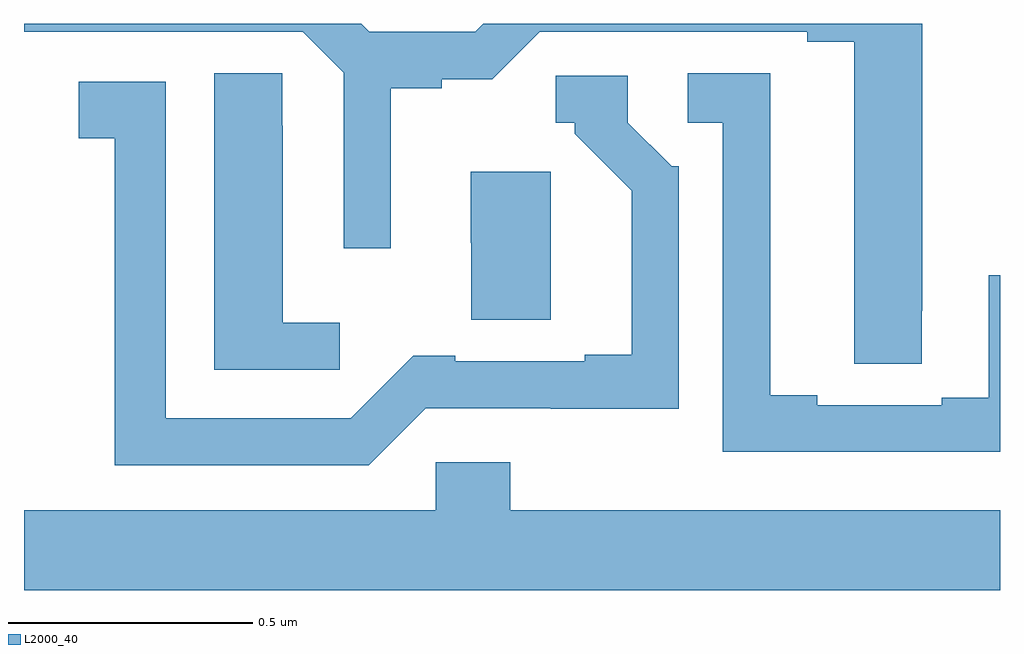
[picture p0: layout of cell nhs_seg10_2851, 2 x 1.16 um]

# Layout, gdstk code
import gdstk
lib = gdstk.Library(unit=1e-6, precision=1e-09)
def P(c, l, *ps):  # polygons
    for p in ps: c.add(gdstk.Polygon(p, *l))
L2000_40 = (2000, 40)

nhs_seg10_2851 = lib.new_cell('nhs_seg10_2851')
P(nhs_seg10_2851, L2000_40, [(147.84,1276.912),(147.841,1276.912),(147.841,1277.5),(146.941,1277.5),(146.925,1277.484),(146.707,1277.484),(146.691,1277.5),(146,1277.5),(146,1277.484),(146.571,1277.484),(146.655,1277.4),(146.655,1277.04),(146.752,1277.04),(146.752,1277.368),(146.856,1277.368),(146.856,1277.387),(146.96,1277.387),(147.057,1277.484),(147.605,1277.484),(147.605,1277.464),(147.701,1277.464),(147.701,1276.804),(147.84,1276.804)],
  [(146.647,1276.888),(146.53,1276.888),(146.53,1277.291),(146.529,1277.291),(146.529,1277.399),(146.39,1277.399),(146.39,1276.791),(146.647,1276.791)],
  [(148,1276.985),(147.977,1276.985),(147.977,1276.734),(147.881,1276.734),(147.881,1276.719),(147.625,1276.719),(147.625,1276.739),(147.529,1276.739),(147.529,1277.399),(147.36,1277.399),(147.36,1277.298),(147.432,1277.298),(147.432,1276.623),(148,1276.623)],
  [(146.823,1276.713),(147.079,1276.713),(147.079,1276.712),(147.342,1276.712),(147.342,1277.208),(147.327,1277.208),(147.237,1277.298),(147.237,1277.394),(147.09,1277.394),(147.09,1277.298),(147.129,1277.298),(147.129,1277.275),(147.245,1277.158),(147.245,1276.822),(147.149,1276.822),(147.149,1276.809),(146.884,1276.809),(146.884,1276.82),(146.798,1276.82),(146.67,1276.692),(146.29,1276.692),(146.29,1277.382),(146.112,1277.382),(146.112,1277.266),(146.186,1277.266),(146.186,1276.596),(146.706,1276.596)],
  [(147.079,1277.197),(146.915,1277.197),(146.915,1277.052),(146.917,1277.052),(146.917,1276.894),(147.079,1276.894)],
  [(148,1276.504),(146.996,1276.504),(146.996,1276.602),(146.844,1276.602),(146.844,1276.504),(146,1276.504),(146,1276.34),(148,1276.34)])

lib.write_gds('nhs_seg10_2851.gds')
